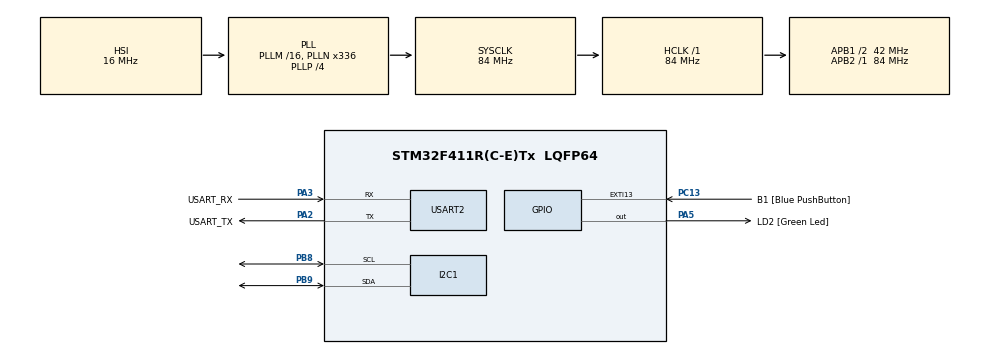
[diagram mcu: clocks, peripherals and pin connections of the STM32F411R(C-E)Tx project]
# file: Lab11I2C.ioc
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I2C1.I2C_Mode=I2C_Fast
Mcu.Family=STM32F4
Mcu.Name=STM32F411R(C-E)Tx
Mcu.Package=LQFP64
NVIC.I2C1_ER_IRQn=true\:0\:0\:false\:false\:true\:true\:true
NVIC.I2C1_EV_IRQn=true\:0\:0\:false\:false\:true\:true\:true
NVIC.PriorityGroup=NVIC_PRIORITYGROUP_0
PA13.GPIO_Label=TMS
PA13.Mode=Serial_Wire
PA13.Signal=SYS_JTMS-SWDIO
PA14.GPIO_Label=TCK
PA14.Mode=Serial_Wire
PA14.Signal=SYS_JTCK-SWCLK
PA2.GPIO_Label=USART_TX
PA2.Mode=Asynchronous
PA2.Signal=USART2_TX
PA3.GPIO_Label=USART_RX
PA3.Mode=Asynchronous
PA3.Signal=USART2_RX
PA5.GPIO_Label=LD2 [Green Led]
PA5.Signal=GPIO_Output
PB3.GPIO_Label=SWO
PB3.Signal=SYS_JTDO-SWO
PB8.Mode=I2C
PB8.Signal=I2C1_SCL
PB9.Mode=I2C
PB9.Signal=I2C1_SDA
PC13-ANTI_TAMP.GPIO_Label=B1 [Blue PushButton]
PC13-ANTI_TAMP.GPIO_ModeDefaultEXTI=GPIO_MODE_IT_FALLING
PC13-ANTI_TAMP.Signal=GPXTI13
PC14-OSC32_IN.Mode=LSE-External-Oscillator
PC14-OSC32_IN.Signal=RCC_OSC32_IN
PC15-OSC32_OUT.Mode=LSE-External-Oscillator
PC15-OSC32_OUT.Signal=RCC_OSC32_OUT
PH0\ -\ OSC_IN.Mode=HSE-External-Clock-Source
PH0\ -\ OSC_IN.Signal=RCC_OSC_IN
PH1\ -\ OSC_OUT.Mode=HSE-External-Clock-Source
PH1\ -\ OSC_OUT.Signal=RCC_OSC_OUT
ProjectManager.HeapSize=0x200
ProjectManager.StackSize=0x400
ProjectManager.TargetToolchain=STM32CubeIDE
RCC.48MHZClocksFreq_Value=84000000
RCC.AHBFreq_Value=84000000
RCC.APB1CLKDivider=RCC_HCLK_DIV2
RCC.APB1Freq_Value=42000000
RCC.APB1TimFreq_Value=84000000
RCC.APB2Freq_Value=84000000
RCC.APB2TimFreq_Value=84000000
RCC.CortexFreq_Value=84000000
RCC.FLatency-AdvancedSettings=FLASH_LATENCY_2
RCC.HCLKFreq_Value=84000000
RCC.HSE_VALUE=8000000
RCC.HSI_VALUE=16000000
RCC.PLLN=336
RCC.PLLP=RCC_PLLP_DIV4
RCC.SYSCLKFreq_VALUE=84000000
RCC.SYSCLKSource=RCC_SYSCLKSOURCE_PLLCLK
RCC.VCOOutputFreq_Value=336000000
USART2.VirtualMode=VM_ASYNC
board=NUCLEO-F411RE

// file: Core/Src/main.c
/* USER CODE BEGIN Header */
/**
 ******************************************************************************
 * @file           : main.c
 * @brief          : Main program body
 ******************************************************************************
 * @attention
 *
 * <h2><center>&copy; Copyright (c) 2021 STMicroelectronics.
 * All rights reserved.</center></h2>
 *
 * This software component is licensed by ST under BSD 3-Clause license,
 * the "License"; You may not use this file except in compliance with the
 * License. You may obtain a copy of the License at:
 *                        opensource.org/licenses/BSD-3-Clause
 *
 ******************************************************************************
 */
/* USER CODE END Header */
#include "main.h"

/* USER CODE BEGIN PD */
#define EEPROM_ADDR 0b10100000
#define IOEXPD_ADDR 0b01000000
/* USER CODE END PD */

I2C_HandleTypeDef hi2c1;

UART_HandleTypeDef huart2;

/* USER CODE BEGIN PV */
uint8_t eepromExampleWriteFlag = 0;
//uint8_t eepromExampleReadFlag = 0;
//uint8_t IOExpdrExampleWriteFlag = 0;
uint8_t IOExpdrExampleReadFlag = 0;
uint8_t eepromExampleReadFlag = 0;
uint8_t IOExpdrExampleWriteFlag = 0;
//uint8_t IOExpdrExampleReadFlag = 1;
uint8_t eepromDataReadBack[1] = {0};
uint8_t IOExpdrDataReadBack;
uint8_t IOExpdrDataWrite = 0b01010101;

uint8_t SW_B1[2] = {0};

uint32_t timeStamp = 0;

/* USER CODE END PV */

void SystemClock_Config(void);
static void MX_GPIO_Init(void);
static void MX_USART2_UART_Init(void);
static void MX_I2C1_Init(void);
/* USER CODE BEGIN PFP */
void EEPROMWriteExample();
void EEPROMReadExample(uint8_t *Rdata, uint16_t len);

void IOExpenderInit();
void IOExpenderReadPinA(uint8_t *Rdata);
void IOExpenderWritePinB(uint8_t Wdata);

/* USER CODE END PFP */

int main(void)
{

  /* MCU Configuration--------------------------------------------------------*/

  /* Reset of all peripherals, Initializes the Flash interface and the Systick. */
  HAL_Init();

  /* Configure the system clock */
  SystemClock_Config();

  /* Initialize all configured peripherals */
  MX_GPIO_Init();
  MX_USART2_UART_Init();
  MX_I2C1_Init();
  /* USER CODE BEGIN 2 */
  HAL_Delay(100);
  IOExpenderInit();
  /* USER CODE END 2 */

  /* Infinite loop */
  /* USER CODE BEGIN WHILE */
	while (1) {

		SW_B1[1] = HAL_GPIO_ReadPin(GPIOC, GPIO_PIN_13);	//Read state of B1 (PC13)
		if ((SW_B1[1] == GPIO_PIN_RESET) && (SW_B1[0] == GPIO_PIN_SET))
		{
			IOExpdrExampleReadFlag = 1;
			eepromExampleWriteFlag = 1;
		}

		if ((SW_B1[0] == GPIO_PIN_RESET) && (SW_B1[1] == GPIO_PIN_SET))
		{
			IOExpdrExampleWriteFlag = 1;
			eepromExampleReadFlag = 1;
		}

		IOExpenderReadPinA(&IOExpdrDataReadBack);
		EEPROMWriteExample();
		EEPROMReadExample(eepromDataReadBack, 1);
		IOExpenderWritePinB(eepromDataReadBack[0]);

		SW_B1[0] = SW_B1[1];

    /* USER CODE END WHILE */

	}
}

void SystemClock_Config(void)
{
  RCC_OscInitTypeDef RCC_OscInitStruct = {0};
  RCC_ClkInitTypeDef RCC_ClkInitStruct = {0};

  /** Configure the main internal regulator output voltage
  */
  __HAL_RCC_PWR_CLK_ENABLE();
  __HAL_PWR_VOLTAGESCALING_CONFIG(PWR_REGULATOR_VOLTAGE_SCALE1);
  /** Initializes the RCC Oscillators according to the specified parameters
  * in the RCC_OscInitTypeDef structure.
  */
  RCC_OscInitStruct.OscillatorType = RCC_OSCILLATORTYPE_HSI;
  RCC_OscInitStruct.HSIState = RCC_HSI_ON;
  RCC_OscInitStruct.HSICalibrationValue = RCC_HSICALIBRATION_DEFAULT;
  RCC_OscInitStruct.PLL.PLLState = RCC_PLL_ON;
  RCC_OscInitStruct.PLL.PLLSource = RCC_PLLSOURCE_HSI;
  RCC_OscInitStruct.PLL.PLLM = 16;
  RCC_OscInitStruct.PLL.PLLN = 336;
  RCC_OscInitStruct.PLL.PLLP = RCC_PLLP_DIV4;
  RCC_OscInitStruct.PLL.PLLQ = 4;
  if (HAL_RCC_OscConfig(&RCC_OscInitStruct) != HAL_OK)
  {
    Error_Handler();
  }
  /** Initializes the CPU, AHB and APB buses clocks
  */
  RCC_ClkInitStruct.ClockType = RCC_CLOCKTYPE_HCLK|RCC_CLOCKTYPE_SYSCLK
                              |RCC_CLOCKTYPE_PCLK1|RCC_CLOCKTYPE_PCLK2;
  RCC_ClkInitStruct.SYSCLKSource = RCC_SYSCLKSOURCE_PLLCLK;
  RCC_ClkInitStruct.AHBCLKDivider = RCC_SYSCLK_DIV1;
  RCC_ClkInitStruct.APB1CLKDivider = RCC_HCLK_DIV2;
  RCC_ClkInitStruct.APB2CLKDivider = RCC_HCLK_DIV1;

  if (HAL_RCC_ClockConfig(&RCC_ClkInitStruct, FLASH_LATENCY_2) != HAL_OK)
  {
    Error_Handler();
  }
}

static void MX_I2C1_Init(void)
{

  hi2c1.Instance = I2C1;
  hi2c1.Init.ClockSpeed = 400000;
  hi2c1.Init.DutyCycle = I2C_DUTYCYCLE_2;
  hi2c1.Init.OwnAddress1 = 0;
  hi2c1.Init.AddressingMode = I2C_ADDRESSINGMODE_7BIT;
  hi2c1.Init.DualAddressMode = I2C_DUALADDRESS_DISABLE;
  hi2c1.Init.OwnAddress2 = 0;
  hi2c1.Init.GeneralCallMode = I2C_GENERALCALL_DISABLE;
  hi2c1.Init.NoStretchMode = I2C_NOSTRETCH_DISABLE;
  if (HAL_I2C_Init(&hi2c1) != HAL_OK)
  {
    Error_Handler();
  }

}

static void MX_USART2_UART_Init(void)
{

  huart2.Instance = USART2;
  huart2.Init.BaudRate = 115200;
  huart2.Init.WordLength = UART_WORDLENGTH_8B;
  huart2.Init.StopBits = UART_STOPBITS_1;
  huart2.Init.Parity = UART_PARITY_NONE;
  huart2.Init.Mode = UART_MODE_TX_RX;
  huart2.Init.HwFlowCtl = UART_HWCONTROL_NONE;
  huart2.Init.OverSampling = UART_OVERSAMPLING_16;
  if (HAL_UART_Init(&huart2) != HAL_OK)
  {
    Error_Handler();
  }

}

static void MX_GPIO_Init(void)
{
  GPIO_InitTypeDef GPIO_InitStruct = {0};

  /* GPIO Ports Clock Enable */
  __HAL_RCC_GPIOC_CLK_ENABLE();
  __HAL_RCC_GPIOH_CLK_ENABLE();
  __HAL_RCC_GPIOA_CLK_ENABLE();
  __HAL_RCC_GPIOB_CLK_ENABLE();

  /*Configure GPIO pin Output Level */
  HAL_GPIO_WritePin(LD2_GPIO_Port, LD2_Pin, GPIO_PIN_RESET);

  /*Configure GPIO pin : B1_Pin */
  GPIO_InitStruct.Pin = B1_Pin;
  GPIO_InitStruct.Mode = GPIO_MODE_IT_FALLING;
  GPIO_InitStruct.Pull = GPIO_NOPULL;
  HAL_GPIO_Init(B1_GPIO_Port, &GPIO_InitStruct);

  /*Configure GPIO pin : LD2_Pin */
  GPIO_InitStruct.Pin = LD2_Pin;
  GPIO_InitStruct.Mode = GPIO_MODE_OUTPUT_PP;
  GPIO_InitStruct.Pull = GPIO_NOPULL;
  GPIO_InitStruct.Speed = GPIO_SPEED_FREQ_LOW;
  HAL_GPIO_Init(LD2_GPIO_Port, &GPIO_InitStruct);
}

/* USER CODE BEGIN 4 */
void EEPROMWriteExample() {
	if (eepromExampleWriteFlag && hi2c1.State == HAL_I2C_STATE_READY) {

		static uint8_t data[1] = {0};
		data[0] = IOExpdrDataReadBack;

		HAL_I2C_Mem_Write_IT(&hi2c1, EEPROM_ADDR, 0x28, I2C_MEMADD_SIZE_16BIT,
				data,1);
		eepromExampleWriteFlag = 0;
	}
	HAL_Delay(10);
}

void EEPROMReadExample(uint8_t *Rdata, uint16_t len) {
	if (eepromExampleReadFlag && hi2c1.State == HAL_I2C_STATE_READY) {

		HAL_I2C_Mem_Read_IT(&hi2c1, EEPROM_ADDR, 0x28, I2C_MEMADD_SIZE_16BIT,
				Rdata, len);
		eepromExampleReadFlag = 0;
	}
	HAL_Delay(10);
}
void IOExpenderInit() {
	//Init All
	static uint8_t Setting[0x16] = { 0xFF, 0x00, 0x00, 0x00, 0x00, 0x00, 0x00,
			0x00, 0x00, 0x00, 0x00, 0x00, 0xFF, 0x00, 0x00, 0x00, 0x00, 0x00,
			0x00, 0x00, 0x00, 0x00 };
	HAL_I2C_Mem_Write(&hi2c1, IOEXPD_ADDR, 0x00, I2C_MEMADD_SIZE_8BIT, Setting,
			0x16, 100);
}
void IOExpenderReadPinA(uint8_t *Rdata) {
	if (IOExpdrExampleReadFlag && hi2c1.State == HAL_I2C_STATE_READY) {
		HAL_I2C_Mem_Read_IT(&hi2c1, IOEXPD_ADDR, 0x12, I2C_MEMADD_SIZE_8BIT,
				Rdata, 1);
		IOExpdrExampleReadFlag =0;
	}
	HAL_Delay(10);
}
void IOExpenderWritePinB(uint8_t Wdata) {
	if (IOExpdrExampleWriteFlag && hi2c1.State == HAL_I2C_STATE_READY) {
		static uint8_t data;
		data = Wdata;
		HAL_I2C_Mem_Write_IT(&hi2c1, IOEXPD_ADDR, 0x15, I2C_MEMADD_SIZE_8BIT,
				&data, 1);
		IOExpdrExampleWriteFlag=0;
	}
	HAL_Delay(10);
}
/* USER CODE END 4 */

void Error_Handler(void)
{
	__disable_irq();
	while (1) {
	}
}

/************************ (C) COPYRIGHT STMicroelectronics *****END OF FILE****/
